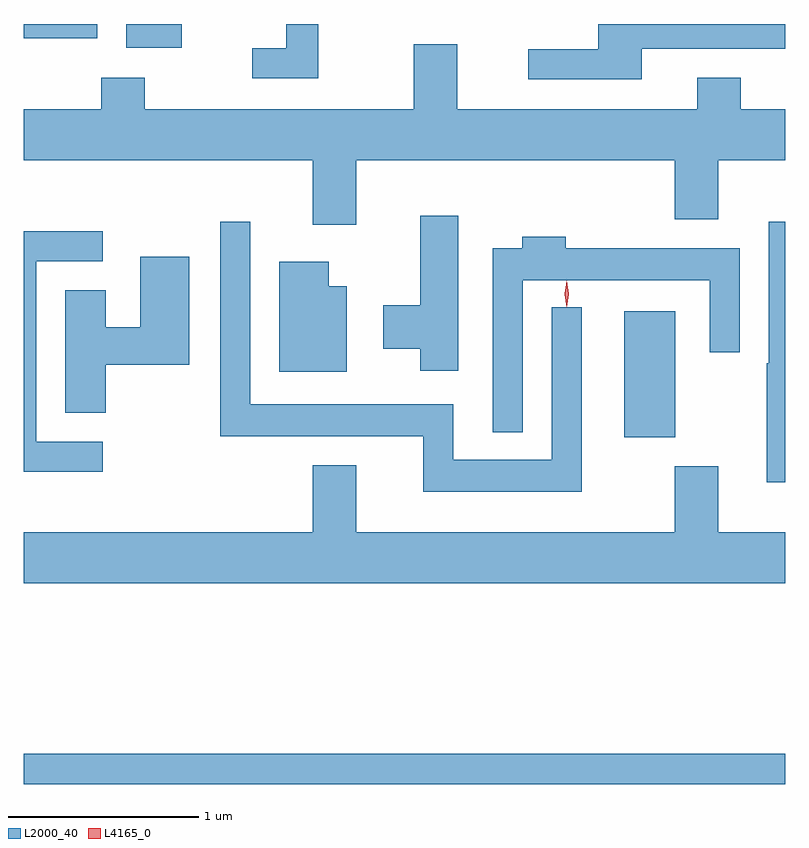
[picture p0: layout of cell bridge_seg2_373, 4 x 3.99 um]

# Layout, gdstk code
import gdstk
lib = gdstk.Library(unit=1e-6, precision=1e-09)
def R(c, l, rs):  # rectangles x0, y0, x1, y1
    for r in rs: c.add(gdstk.rectangle(r[:2], r[2:], *l))
def P(c, l, *ps):  # polygons
    for p in ps: c.add(gdstk.Polygon(p, *l))
L2000_40 = (2000, 40)
L4165_0 = (4165, 0)

bridge_seg2_373 = lib.new_cell('bridge_seg2_373')
R(bridge_seg2_373, L2000_40, [(626.503,1020.621,630.503,1020.779), (629.656,1022.441,629.924,1023.104), (627.041,1024.486,627.334,1024.611), (626.503,1024.536,626.889,1024.611)])
P(bridge_seg2_373, L2000_40, [(629.749,1024.481),(630.503,1024.481),(630.503,1024.611),(629.521,1024.611),(629.521,1024.479),(629.153,1024.479),(629.153,1024.321),(629.749,1024.321)],
  [(628.049,1024.611),(627.881,1024.611),(627.881,1024.484),(627.703,1024.484),(627.703,1024.326),(628.049,1024.326)],
  [(628.249,1023.896),(629.921,1023.896),(629.921,1023.586),(630.149,1023.586),(630.149,1023.896),(630.503,1023.896),(630.503,1024.164),(630.269,1024.164),(630.269,1024.329),(630.041,1024.329),(630.041,1024.164),(628.779,1024.164),(628.779,1024.504),(628.551,1024.504),(628.551,1024.164),(627.139,1024.164),(627.139,1024.329),(626.911,1024.329),(626.911,1024.164),(626.503,1024.164),(626.503,1023.896),(628.021,1023.896),(628.021,1023.556),(628.249,1023.556)],
  [(628.784,1023.604),(628.586,1023.604),(628.586,1023.134),(628.391,1023.134),(628.391,1022.906),(628.586,1022.906),(628.586,1022.791),(628.784,1022.791)],
  [(630.503,1023.573),(630.416,1023.573),(630.416,1022.83),(630.406,1022.83),(630.406,1022.206),(630.503,1022.206)],
  [(629.434,1023.123),(629.276,1023.123),(629.276,1022.324),(628.759,1022.324),(628.759,1022.614),(627.694,1022.614),(627.694,1023.573),(627.536,1023.573),(627.536,1022.446),(628.601,1022.446),(628.601,1022.156),(629.434,1022.156)],
  [(626.918,1022.419),(626.569,1022.419),(626.569,1023.366),(626.918,1023.366),(626.918,1023.524),(626.503,1023.524),(626.503,1022.261),(626.918,1022.261)],
  [(629.124,1023.266),(630.106,1023.266),(630.106,1022.888),(630.264,1022.888),(630.264,1023.434),(629.349,1023.434),(629.349,1023.494),(629.121,1023.494),(629.121,1023.434),(628.966,1023.434),(628.966,1022.468),(629.124,1022.468)],
  [(626.934,1022.821),(627.374,1022.821),(627.374,1023.389),(627.116,1023.389),(627.116,1023.019),(626.934,1023.019),(626.934,1023.214),(626.721,1023.214),(626.721,1022.571),(626.934,1022.571)],
  [(628.199,1023.234),(628.104,1023.234),(628.104,1023.364),(627.846,1023.364),(627.846,1022.786),(628.199,1022.786)],
  [(630.503,1021.944),(630.149,1021.944),(630.149,1022.289),(629.921,1022.289),(629.921,1021.944),(628.249,1021.944),(628.249,1022.294),(628.021,1022.294),(628.021,1021.944),(626.503,1021.944),(626.503,1021.676),(630.503,1021.676)])
P(bridge_seg2_373, L4165_0, [(629.354,1023.127),(629.354,1023.127),(629.344,1023.194),(629.354,1023.26),(629.354,1023.261),(629.355,1023.26),(629.364,1023.194),(629.355,1023.127)],
  [(629.354,1023.124),(629.354,1023.124),(629.344,1023.193),(629.354,1023.262),(629.354,1023.263),(629.355,1023.262),(629.364,1023.193),(629.355,1023.124)])

lib.write_gds('bridge_seg2_373.gds')
